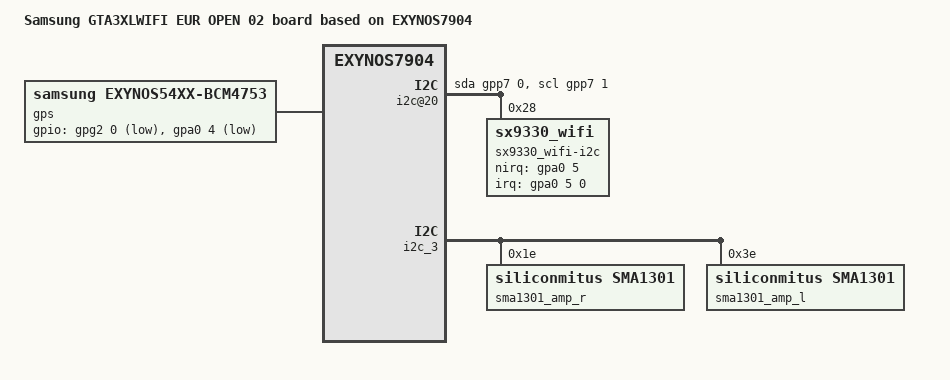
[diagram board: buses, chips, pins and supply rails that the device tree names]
/*
 * SAMSUNG EXYNOS7904 board device tree source

 *
 * Copyright (c) 2018 Samsung Electronics Co., Ltd.
 *		http://www.samsung.com
 *
 * This program is free software; you can redistribute it and/or modify
 * it under the terms of the GNU General Public License version 2 as
 * published by the Free Software Foundation.
*/

/dts-v1/;
/plugin/;

#include "exynos7904-gta3xlwifi_common.dtsi"
#include "exynos7904-gta3xlwifi_eur_open_gpio_03.dtsi"
#include "ccic-s2mm005_gta3xllte_00.dtsi"

/ {
	compatible = "samsung,GTA3XLWIFI EUR OPEN 02", "samsung,EXYNOS7904";

	dtbo-hw_rev = <3>;
    dtbo-hw_rev_end = <3>;


	fragment@model {
		target-path = "/";
		__overlay__ {
			#address-cells = <2>;
			#size-cells = <1>;

			model = "Samsung GTA3XLWIFI EUR OPEN 02 board based on EXYNOS7904";
			sound {
				samsung,codec = <&abox &sma1301_amp_r &sma1301_amp_l>;

				samsung,routing =  "VOUTPUT", "ABOX UAIF0 Playback",
						 "VOUTPUTCALL", "ABOX UAIF2 Playback",
						 "ABOX UAIF2 Capture", "VINPUTCALL",
						 "ABOX SPEEDY Capture", "VINPUTFM",
						 // "SPK", "ABOX UAIF3 Playback",
						 // "ABOX UAIF3 Capture", "VI";
						 "SPK", "SPKR Playback-8-001e",
						 "SPKR Playback-8-001e", "ABOX UAIF3 Playback",
						 "ABOX UAIF3 Capture", "SPKR Capture-8-001e",
						 "SPK", "SPKL Playback-8-003e",
						 "SPKL Playback-8-003e", "ABOX UAIF3 Playback",
						 "ABOX UAIF3 Capture", "SPKL Capture-8-003e";
				uaif@3 {
					cpu {
						sound-dai = <&abox 16>;
					};
					codec {
						sound-dai = <&sma1301_amp_r 0 &sma1301_amp_l 0>;
					};
				};
			};
            gps {
				compatible = "samsung,exynos54xx-bcm4753";
				gpios = <&gpg2 0 0x1
					 &gpa0 4 0xf
					>;
				status = "okay";
			};

			i2c@20 {
				compatible = "i2c-gpio";
				gpios = <&gpp7 0 0
						&gpp7 1 0>;
				i2c-gpio,delay-us = <2>;
				pinctrl-names = "default";
				pinctrl-0 = <&grip_i2c>;
				#address-cells = <1>;
				#size-cells = <0>;
				status = "okay";

				sx9330_wifi-i2c@28 {
					compatible = "sx9330_wifi";
					pinctrl-names = "default";
					pinctrl-0 = <&grip_wifi_int>;
					reg = <0x28>;
					interrupt-parent = <&gpa0>;
					interrupts = <5 0 0>;
					sx9330_wifi,nirq-gpio = <&gpa0 5 0>; 

					sx9330,scanperiod_reg = <0x00000032>; /* scanperiod : 102ms */
					sx9330,gnrlctrl2_reg = <0x00FF0002>;
					sx9330,afeparamsph0_reg = <0x0000021F>;
					sx9330,afephph0_reg = <0x3FBB8548>;
					sx9330,adcfiltph0_reg = <0x0510101D>;
					sx9330,afeparamsph1_reg = <0x0000082F>;  /* again : 3.3pF, sampling freq : 111.11 khz */
					sx9330,adcfiltph1_reg = <0x0010B115>;    /* threshold : 15665 */
					sx9330,avgbfilt_reg = <0x60600C00>;   /* AVGPOSFILT : 1/256, AVGNEGFILT : 1/2 */
					sx9330,avgafilt_reg = <0x00000000>;
					sx9330,advdig3_reg = <0x00000000>;
					sx9330,advdig4_reg = <0x00000000>;
					sx9330,refcorra_reg = <0x00000000>;
				};
			};

		}; /* end of __overlay__ */
	}; /* end of fragment */
}; /* end of root */

&i2c_3 {

	/delete-node/ tfa98xx@34;
	/delete-node/ tfa98xx@35;

	sma1301_amp_r: sma1301@1e {
		compatible = "siliconmitus,sma1301";
		#sound-dai-cells = <1>;
		stereo-two-chip;
		reg = <0x1e>;
		init-vol = <0x32>;
		pinctrl-names = "default";
	};
	sma1301_amp_l: sma1301@3e {
		compatible = "siliconmitus,sma1301";
		#sound-dai-cells = <1>;
		stereo-two-chip;
		reg = <0x3e>;
		init-vol = <0x32>;
		pinctrl-names = "default";
	};
};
